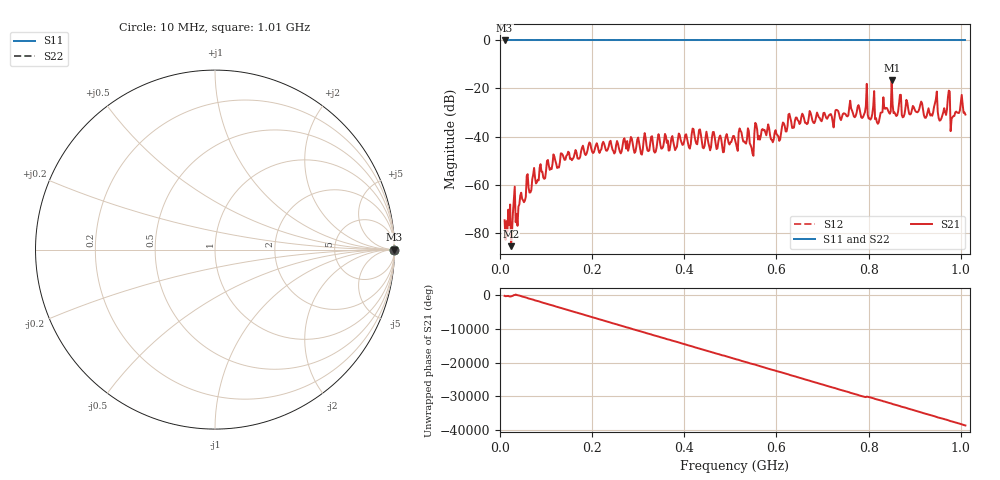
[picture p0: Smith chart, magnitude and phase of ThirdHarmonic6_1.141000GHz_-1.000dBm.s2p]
! 8/16/2025 11:13:11 AM
! C:\ANRITSUVNA\TEMP\TEMP.S2P
! CHANNEL.1
! TR.MEASUREMENT
! RAW.DATA
! RF.CORRECTION.OFF
! AVERAGING.OFF
! IF.BANDWIDTH: 5KHZ
! SWEEPTYPE:  FREQ.SWEEP(Linear)
! Reference Plane Port Info
! PORT:  PORT1  PORT2
! DISTANCE:  0  m  0  m
! TIME:  0  s  0  s
! PHASE.OFFSET:  0  deg.  0  deg.
! LOSS:  0  dB  0  dB
! REF.LOSS:  0  dB  0  dB
! REF.FREQ:  0  Hz  0  Hz
! Power Info
! POWER:  -20  dBm  -20  dBm
! EFF.POWER:  -20  dBm  -20  dBm
! SOURCE.ATTEN:  0  dB  0  dB
! TEST.ATTEN:  0  dB  0  dB
# GHZ S RI R 50.0
! FREQ.GHZ  S11RE  S11IM  S21RE  S21IM  S12RE  S12IM  S22RE  S22IM
!; PortSelection: Port_12
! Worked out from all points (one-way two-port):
!   501 points, 10 MHz to 1.01 GHz, reference 50 ohm
!   highest |S21| = -16.67 dB at 850 MHz (marker M1); lowest = -85.6 dB at 24 MHz (marker M2)
!   lowest |S11| = 0.0 dB at 10 MHz (marker M3)
!   |S11| at or under -10 dB: nowhere
!   |S22| runs from 0.0 to 0.0 dB; largest |S21 - S12| = 1.1
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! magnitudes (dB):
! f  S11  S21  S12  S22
! 10 MHz  0.0  -74.9  0.0  0.0
! 24 MHz  0.0  -85.6  0.0  0.0
! 74 MHz  0.0  -53.1  0.0  0.0
! 178 MHz  0.0  -44.6  0.0  0.0
! 344 MHz  0.0  -39.0  0.0  0.0
! 510 MHz  0.0  -41.3  0.0  0.0
! 522 MHz  0.0  -37.6  0.0  0.0
! 546 MHz  0.0  -44.7  0.0  0.0
! 556 MHz  0.0  -35.0  0.0  0.0
! 590 MHz  0.0  -41.3  0.0  0.0
! 628 MHz  0.0  -30.5  0.0  0.0
! 678 MHz  0.0  -33.3  0.0  0.0
! 818 MHz  0.0  -34.0  0.0  0.0
! 844 MHz  0.0  -30.0  0.0  0.0
! 850 MHz  0.0  -16.7  0.0  0.0
! 924 MHz  0.0  -32.2  0.0  0.0
! 946 MHz  0.0  -24.4  0.0  0.0
! 956 MHz  0.0  -33.2  0.0  0.0
! 972 MHz  0.0  -23.9  0.0  0.0
! 982 MHz  0.0  -31.9  0.0  0.0
! 1 GHz  0.0  -26.0  0.0  0.0
! 1.01 GHz  0.0  -30.8  0.0  0.0
